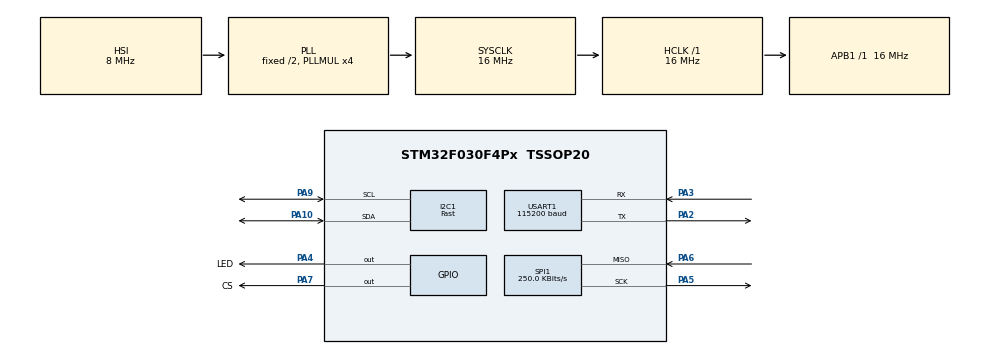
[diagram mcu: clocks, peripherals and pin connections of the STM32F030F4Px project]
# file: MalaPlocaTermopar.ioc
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I2C1.I2C_Speed_Mode=I2C_Fast
I2C1.Timing=0x0000020B
Mcu.Family=STM32F0
Mcu.Name=STM32F030F4Px
Mcu.Package=TSSOP20
NVIC.TIM14_IRQn=true\:0\:0\:false\:false\:true\:true\:true
PA10.Mode=I2C
PA10.Signal=I2C1_SDA
PA2.Mode=Asynchronous
PA2.Signal=USART1_TX
PA3.Mode=Asynchronous
PA3.Signal=USART1_RX
PA4.GPIO_Label=LED
PA4.Signal=GPIO_Output
PA5.Mode=RX_Only_Simplex_Unidirect_Master
PA5.Signal=SPI1_SCK
PA6.Mode=RX_Only_Simplex_Unidirect_Master
PA6.Signal=SPI1_MISO
PA7.GPIO_Label=CS
PA7.Signal=GPIO_Output
PA9.Mode=I2C
PA9.Signal=I2C1_SCL
ProjectManager.HeapSize=0x200
ProjectManager.StackSize=0x400
ProjectManager.TargetToolchain=MDK-ARM V5.32
RCC.AHBFreq_Value=16000000
RCC.APB1Freq_Value=16000000
RCC.APB1TimFreq_Value=16000000
RCC.HCLKFreq_Value=16000000
RCC.PLLMUL=RCC_PLL_MUL4
RCC.SYSCLKFreq_VALUE=16000000
RCC.SYSCLKSource=RCC_SYSCLKSOURCE_PLLCLK
SPI1.BaudRatePrescaler=SPI_BAUDRATEPRESCALER_64
SPI1.CalculateBaudRate=250.0 KBits/s
SPI1.DataSize=SPI_DATASIZE_8BIT
SPI1.Direction=SPI_DIRECTION_2LINES_RXONLY
SPI1.Mode=SPI_MODE_MASTER
SPI1.VirtualType=VM_MASTER
TIM14.Period=1000-1
TIM14.Prescaler=16-1
USART1.BaudRate=115200
USART1.VirtualMode-Asynchronous=VM_ASYNC
VP_RTC_VS_RTC_Activate.Mode=RTC_Enabled
VP_TIM14_VS_ClockSourceINT.Mode=Enable_Timer
board=custom

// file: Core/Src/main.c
/* USER CODE BEGIN Header */
/**
  ******************************************************************************
  * @file           : main.c
  * @brief          : Main program body
  ******************************************************************************
  * @attention
  *
  * <h2><center>&copy; Copyright (c) 2022 STMicroelectronics.
  * All rights reserved.</center></h2>
  *
  * This software component is licensed by ST under BSD 3-Clause license,
  * the "License"; You may not use this file except in compliance with the
  * License. You may obtain a copy of the License at:
  *                        opensource.org/licenses/BSD-3-Clause
  *
  ******************************************************************************
  */
/* USER CODE END Header */
#include "main.h"

/* USER CODE BEGIN Includes */
#include "fonts.h"
#include "ssd1306.h"
/* USER CODE END Includes */

I2C_HandleTypeDef hi2c1;

RTC_HandleTypeDef hrtc;

SPI_HandleTypeDef hspi1;

TIM_HandleTypeDef htim14;

UART_HandleTypeDef huart1;

/* USER CODE BEGIN PV */
uint8_t spiRxBuff[2];
char UARTbuffer[8];
//uint8_t testflag1, testflag2;
float MeasuredTemp;
/* USER CODE END PV */

void SystemClock_Config(void);
static void MX_GPIO_Init(void);
static void MX_I2C1_Init(void);
static void MX_RTC_Init(void);
static void MX_SPI1_Init(void);
static void MX_TIM14_Init(void);
static void MX_USART1_UART_Init(void);

/* USER CODE BEGIN 0 */
float Max6675ReadTemp() {
	float TempCeoF;
	uint16_t TempPod, TempCeo;
	uint8_t DummySignBitTest, DeviceBitTest, ThermoOpenTest, HigherSide, LowerSide;
	HAL_GPIO_WritePin(CS_GPIO_Port, CS_Pin, 0);
	HAL_SPI_Receive(&hspi1, spiRxBuff, 2, 100);
	HigherSide = spiRxBuff[0];
	LowerSide = spiRxBuff[1];
	HAL_GPIO_WritePin(CS_GPIO_Port, CS_Pin, 1);
	HAL_Delay(100);
	TempPod = HigherSide;
	TempPod = TempPod<<8;
	TempPod = TempPod|LowerSide;
	//HAL_UART_Transmit(&huart1, (uint8_t*)UARTbuffer, sprintf(UARTbuffer, "%x\r\n", TempPod), 10);
	//HAL_Delay(500);
	TempCeo = TempPod>>3;
	TempCeoF = TempCeo*0.25;
	//sprintf(UARTbuffer, "%.2f\r\n", TempCeoF);
	//HAL_UART_Transmit(&huart1, (uint8_t*)UARTbuffer, strlen(UARTbuffer) , 20);
	//HAL_Delay(500);
	return TempCeoF;
}

/* USER CODE END 0 */

int main(void)
{

  /* MCU Configuration--------------------------------------------------------*/

  /* Reset of all peripherals, Initializes the Flash interface and the Systick. */
  HAL_Init();

  /* Configure the system clock */
  SystemClock_Config();

  /* Initialize all configured peripherals */
  MX_GPIO_Init();
  MX_I2C1_Init();
  MX_RTC_Init();
  MX_SPI1_Init();
  MX_TIM14_Init();
  MX_USART1_UART_Init();
  /* USER CODE BEGIN 2 */
	SSD1306_Init();
//	SSD1306_Fill(SSD1306_COLOR_WHITE);
//	SSD1306_UpdateScreen();
//	HAL_Delay(500);
//	SSD1306_Clear();
//	SSD1306_UpdateScreen();
  /* USER CODE END 2 */

  /* Infinite loop */
  while (1)
  {

    /* USER CODE BEGIN 3 */
		//HAL_UART_Transmit(&huart1, "Zdravo\r\n", 8, 10);
		HAL_Delay(2000);
		MeasuredTemp = Max6675ReadTemp();
		sprintf(UARTbuffer, "%.2f", MeasuredTemp);
//		HAL_UART_Transmit(&huart1, (uint8_t*)UARTbuffer, strlen(UARTbuffer) , 20);
		HAL_GPIO_TogglePin(GPIOA, GPIO_PIN_4);
		SSD1306_GotoXY(15,15);
		SSD1306_Puts("Temperatura je:", &Font_7x10, SSD1306_COLOR_WHITE);
		SSD1306_GotoXY(35,35);
		SSD1306_Puts(UARTbuffer, &Font_7x10, SSD1306_COLOR_WHITE);
		SSD1306_UpdateScreen();

  }
  /* USER CODE END 3 */
}

void SystemClock_Config(void)
{
  RCC_OscInitTypeDef RCC_OscInitStruct = {0};
  RCC_ClkInitTypeDef RCC_ClkInitStruct = {0};
  RCC_PeriphCLKInitTypeDef PeriphClkInit = {0};

  /** Initializes the RCC Oscillators according to the specified parameters
  * in the RCC_OscInitTypeDef structure.
  */
  RCC_OscInitStruct.OscillatorType = RCC_OSCILLATORTYPE_HSI|RCC_OSCILLATORTYPE_LSI;
  RCC_OscInitStruct.HSIState = RCC_HSI_ON;
  RCC_OscInitStruct.HSICalibrationValue = RCC_HSICALIBRATION_DEFAULT;
  RCC_OscInitStruct.LSIState = RCC_LSI_ON;
  RCC_OscInitStruct.PLL.PLLState = RCC_PLL_ON;
  RCC_OscInitStruct.PLL.PLLSource = RCC_PLLSOURCE_HSI;
  RCC_OscInitStruct.PLL.PLLMUL = RCC_PLL_MUL4;
  RCC_OscInitStruct.PLL.PREDIV = RCC_PREDIV_DIV1;
  if (HAL_RCC_OscConfig(&RCC_OscInitStruct) != HAL_OK)
  {
    Error_Handler();
  }
  /** Initializes the CPU, AHB and APB buses clocks
  */
  RCC_ClkInitStruct.ClockType = RCC_CLOCKTYPE_HCLK|RCC_CLOCKTYPE_SYSCLK
                              |RCC_CLOCKTYPE_PCLK1;
  RCC_ClkInitStruct.SYSCLKSource = RCC_SYSCLKSOURCE_PLLCLK;
  RCC_ClkInitStruct.AHBCLKDivider = RCC_SYSCLK_DIV1;
  RCC_ClkInitStruct.APB1CLKDivider = RCC_HCLK_DIV1;

  if (HAL_RCC_ClockConfig(&RCC_ClkInitStruct, FLASH_LATENCY_0) != HAL_OK)
  {
    Error_Handler();
  }
  PeriphClkInit.PeriphClockSelection = RCC_PERIPHCLK_USART1|RCC_PERIPHCLK_I2C1
                              |RCC_PERIPHCLK_RTC;
  PeriphClkInit.Usart1ClockSelection = RCC_USART1CLKSOURCE_PCLK1;
  PeriphClkInit.I2c1ClockSelection = RCC_I2C1CLKSOURCE_HSI;
  PeriphClkInit.RTCClockSelection = RCC_RTCCLKSOURCE_LSI;
  if (HAL_RCCEx_PeriphCLKConfig(&PeriphClkInit) != HAL_OK)
  {
    Error_Handler();
  }
}

static void MX_I2C1_Init(void)
{

  hi2c1.Instance = I2C1;
  hi2c1.Init.Timing = 0x0000020B;
  hi2c1.Init.OwnAddress1 = 0;
  hi2c1.Init.AddressingMode = I2C_ADDRESSINGMODE_7BIT;
  hi2c1.Init.DualAddressMode = I2C_DUALADDRESS_DISABLE;
  hi2c1.Init.OwnAddress2 = 0;
  hi2c1.Init.OwnAddress2Masks = I2C_OA2_NOMASK;
  hi2c1.Init.GeneralCallMode = I2C_GENERALCALL_DISABLE;
  hi2c1.Init.NoStretchMode = I2C_NOSTRETCH_DISABLE;
  if (HAL_I2C_Init(&hi2c1) != HAL_OK)
  {
    Error_Handler();
  }
  /** Configure Analogue filter
  */
  if (HAL_I2CEx_ConfigAnalogFilter(&hi2c1, I2C_ANALOGFILTER_ENABLE) != HAL_OK)
  {
    Error_Handler();
  }
  /** Configure Digital filter
  */
  if (HAL_I2CEx_ConfigDigitalFilter(&hi2c1, 0) != HAL_OK)
  {
    Error_Handler();
  }

}

static void MX_RTC_Init(void)
{

  /** Initialize RTC Only
  */
  hrtc.Instance = RTC;
  hrtc.Init.HourFormat = RTC_HOURFORMAT_24;
  hrtc.Init.AsynchPrediv = 127;
  hrtc.Init.SynchPrediv = 255;
  hrtc.Init.OutPut = RTC_OUTPUT_DISABLE;
  hrtc.Init.OutPutPolarity = RTC_OUTPUT_POLARITY_HIGH;
  hrtc.Init.OutPutType = RTC_OUTPUT_TYPE_OPENDRAIN;
  if (HAL_RTC_Init(&hrtc) != HAL_OK)
  {
    Error_Handler();
  }

}

static void MX_SPI1_Init(void)
{

  /* SPI1 parameter configuration*/
  hspi1.Instance = SPI1;
  hspi1.Init.Mode = SPI_MODE_MASTER;
  hspi1.Init.Direction = SPI_DIRECTION_2LINES_RXONLY;
  hspi1.Init.DataSize = SPI_DATASIZE_8BIT;
  hspi1.Init.CLKPolarity = SPI_POLARITY_LOW;
  hspi1.Init.CLKPhase = SPI_PHASE_1EDGE;
  hspi1.Init.NSS = SPI_NSS_SOFT;
  hspi1.Init.BaudRatePrescaler = SPI_BAUDRATEPRESCALER_64;
  hspi1.Init.FirstBit = SPI_FIRSTBIT_MSB;
  hspi1.Init.TIMode = SPI_TIMODE_DISABLE;
  hspi1.Init.CRCCalculation = SPI_CRCCALCULATION_DISABLE;
  hspi1.Init.CRCPolynomial = 7;
  hspi1.Init.CRCLength = SPI_CRC_LENGTH_DATASIZE;
  hspi1.Init.NSSPMode = SPI_NSS_PULSE_ENABLE;
  if (HAL_SPI_Init(&hspi1) != HAL_OK)
  {
    Error_Handler();
  }

}

static void MX_TIM14_Init(void)
{

  htim14.Instance = TIM14;
  htim14.Init.Prescaler = 16-1;
  htim14.Init.CounterMode = TIM_COUNTERMODE_UP;
  htim14.Init.Period = 1000-1;
  htim14.Init.ClockDivision = TIM_CLOCKDIVISION_DIV1;
  htim14.Init.AutoReloadPreload = TIM_AUTORELOAD_PRELOAD_DISABLE;
  if (HAL_TIM_Base_Init(&htim14) != HAL_OK)
  {
    Error_Handler();
  }

}

static void MX_USART1_UART_Init(void)
{

  huart1.Instance = USART1;
  huart1.Init.BaudRate = 115200;
  huart1.Init.WordLength = UART_WORDLENGTH_8B;
  huart1.Init.StopBits = UART_STOPBITS_1;
  huart1.Init.Parity = UART_PARITY_NONE;
  huart1.Init.Mode = UART_MODE_TX_RX;
  huart1.Init.HwFlowCtl = UART_HWCONTROL_NONE;
  huart1.Init.OverSampling = UART_OVERSAMPLING_16;
  huart1.Init.OneBitSampling = UART_ONE_BIT_SAMPLE_DISABLE;
  huart1.AdvancedInit.AdvFeatureInit = UART_ADVFEATURE_NO_INIT;
  if (HAL_UART_Init(&huart1) != HAL_OK)
  {
    Error_Handler();
  }

}

static void MX_GPIO_Init(void)
{
  GPIO_InitTypeDef GPIO_InitStruct = {0};

  /* GPIO Ports Clock Enable */
  __HAL_RCC_GPIOA_CLK_ENABLE();

  /*Configure GPIO pin Output Level */
  HAL_GPIO_WritePin(GPIOA, LED_Pin|CS_Pin, GPIO_PIN_RESET);

  /*Configure GPIO pins : LED_Pin CS_Pin */
  GPIO_InitStruct.Pin = LED_Pin|CS_Pin;
  GPIO_InitStruct.Mode = GPIO_MODE_OUTPUT_PP;
  GPIO_InitStruct.Pull = GPIO_NOPULL;
  GPIO_InitStruct.Speed = GPIO_SPEED_FREQ_LOW;
  HAL_GPIO_Init(GPIOA, &GPIO_InitStruct);

}

void Error_Handler(void)
{
  __disable_irq();
  while (1)
  {
  }
}

/************************ (C) COPYRIGHT STMicroelectronics *****END OF FILE****/
